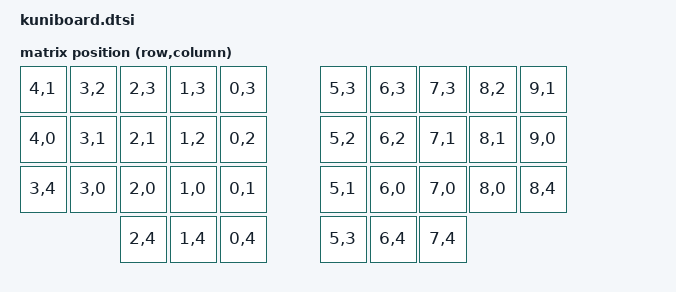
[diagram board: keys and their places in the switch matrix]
/*
 * Copyright (c) 2020 The ZMK Contributors
 *
 * SPDX-License-Identifier: MIT
 */

#include <dt-bindings/zmk/matrix_transform.h>

/ {
  chosen {
    zmk,kscan = &kscan0;
    zmk,matrix_transform = &default_transform;

    /delete-property/ zephyr,console;
    /delete-property/ zephyr,shell-uart;
  };

    default_transform: keymap_transform_0 {
        compatible = "zmk,matrix-transform";
        columns = <10>;
        rows = <5>;

        map = <
RC(4,1) RC(3,2) RC(2,3) RC(1,3) RC(0,3)      RC(5,3) RC(6,3) RC(7,3) RC(8,2) RC(9,1)
RC(4,0) RC(3,1) RC(2,1) RC(1,2) RC(0,2)      RC(5,2) RC(6,2) RC(7,1) RC(8,1) RC(9,0)
RC(3,4) RC(3,0) RC(2,0) RC(1,0) RC(0,1)      RC(5,1) RC(6,0) RC(7,0) RC(8,0) RC(8,4)
                RC(2,4) RC(1,4) RC(0,4)      RC(5,3) RC(6,4) RC(7,4)
        >;
    };

    kscan0: kscan_0 {
        compatible = "zmk,kscan-gpio-charlieplex";

        interrupt-gpios = <&xiao_d 6 (GPIO_ACTIVE_HIGH | GPIO_PULL_DOWN)>;
    };
};

&xiao_i2c { status = "disabled"; };
&xiao_serial { status = "disabled"; };

/*
 * PS/2 Mouse / Trackpoint
 */

// Configure the SCL and SDA pins of the PS/2 mouse/tp using the `&pro_micro`
// notation.
//
// If possible, try to choose the blue high frequency pins to avoid
// bluetooth interference.
//
// On the nice!nano documentation these are green DX pins:
// https://nicekeyboards.com/docs/nice-nano/pinout-schematic
//
#define MOUSE_PS2_PIN_SCL_PRO_MICRO <&xiao_d 9 GPIO_ACTIVE_HIGH>
#define MOUSE_PS2_PIN_SDA_PRO_MICRO <&xiao_d 10 GPIO_ACTIVE_HIGH>


// Uncomment and configure this pin if you have an extra free pin and want the
// controller to perform the Power-On-Reset sequence, which many trackpoints
// require, instead of using a trackpoint reset circuit.
//
// It's ok to use a low-frequency pin for this.
#define MOUSE_PS2_PIN_RST_PRO_MICRO <&xiao_d 8 GPIO_ACTIVE_HIGH>


// Now configure the same SDA pin using the pinctrl notation.
//
// For that you have to use the PX.XX notation of the nrf52 chip.
//
// On the nice!nano pinout they are shown in blue and purple next to the green
// DX pin.
//
// Enter it like `X, Y` without leading zeroes.
// Examples:
// 		D0 - P0.08: 0, 8
//		D15 - P1.13: 1, 13
//
// We don't define the SCL pin, because UART uses a baud rate instead of
// a clock pin.
#define MOUSE_PS2_PIN_SDA_PINCTRL <NRF_PSEL(UART_RX, 0, 8)>


// In UART two different pins are used for receiving and transmitting, but PS/2
// uses the same pin for both.
//
// The UART config still requires both pins to be configured. So we use one of
// the nrf52 pins that are not exposed on the nice!nano board.
#define MOUSE_PS2_PIN_UNEXPOSED_TX <NRF_PSEL(UART_TX, 0, 27)>
#define MOUSE_PS2_PIN_UNEXPOSED_RX <NRF_PSEL(UART_RX, 0, 28)>


// The PS/2 GPIO driver
/ {
    gpio_ps2: gpio_ps2 {
		status = "disabled";
        compatible = "gpio-ps2";
        scl-gpios = MOUSE_PS2_PIN_SCL_PRO_MICRO;
        sda-gpios = MOUSE_PS2_PIN_SDA_PRO_MICRO;
    };
};


&pinctrl {
	// This pinctrl state is used for receiving
	// For `UART_TX`, set an unused and unexposed pin
	// For `UART_RX`, set the PS/2 SDA pin number
	uart0_ps2_default: uart0_ps2_default {
		group1 {
			psels = MOUSE_PS2_PIN_UNEXPOSED_TX,
					MOUSE_PS2_PIN_SDA_PINCTRL;
		};
	};

	// Set this to the same pins as uart0_ps2_default
	uart0_ps2_sleep: uart0_ps2_sleep {
		group1 {
			psels = MOUSE_PS2_PIN_UNEXPOSED_TX,
					MOUSE_PS2_PIN_SDA_PINCTRL;
			low-power-enable;
		};
	};

	// The nrf52 UART controller is not compatible with the PS/2
	// transmission frame. So we don't use UART for transmissions
	// and instead use GPIO bitbanging.
	//
	// When we switch to transmit mode, we free up the SDA pin by switching
	// UART to unexposed/unused pins.
	//
	// Then we can configure the pins to be used with the GPIO controller.
	uart0_ps2_off: uart0_ps2_off {
		group1 {
			psels = MOUSE_PS2_PIN_UNEXPOSED_TX,
					MOUSE_PS2_PIN_UNEXPOSED_RX;
		};
	};
};


&uart0 {
	status = "disabled";
	compatible = "nordic,nrf-uarte";

	// PS/2 uses a clock pin to syncronize data transmissions. UART on the
	// other hand uses a pre-defined frequency (baud rate).
	//
	// Fortunately, one of the available baud rates is very close to the
	// frequency used in IBM/Lenovo trackpoints.
	//
	// You can find other configurable baud rates here:
	// https://docs.zephyrproject.org/latest/build/dts/api/bindings/serial/nordic,nrf-uarte.html
	//
	// But most likely you won't need to adjust this.
	//
	// You can measure the frequency of your mouse/TP using a $5 logic
	// analyzer from AliExpress.
	//
	// Actual frequency of PS/2 trackpoint: 67us
	// Correspondent baud rate: 14,925
	//
	// Closest available baud rate in zephyr: 14,400
	// Correspondent cycle length: 69.44 microseconds
	//
	// Calculations:
	//
	// Convert cycle length in microseconds into baud:
	// 1 / PS2_CYCLE_LENGTH * 1000000 =  BAUD
	// 1 / 67 * 1000000 = 14,925 BAUD
	//
	// Convert baud into cycle length:
	// 1 / BAUD * 1000000 = CYCLE_LEN (in microseconds)
	// 1 / 14400 * 1000000 = 69.44
	//
	current-speed = <14400>;
	pinctrl-0 = <&uart0_ps2_default>;
	pinctrl-1 = <&uart0_ps2_off>;

	pinctrl-names = "default", "sleep";

    uart_ps2: uart_ps2 {
        status="disabled";
        compatible = "uart-ps2";
        scl-gpios = MOUSE_PS2_PIN_SCL_PRO_MICRO;
        sda-gpios = MOUSE_PS2_PIN_SDA_PRO_MICRO;
    };
};


/ {
    mouse_ps2: mouse_ps2 {
		status = "disabled";
        compatible = "zmk,input-mouse-ps2";

		// This will be overriden in your `xxx_right.overlay file`.
        // ps2-device = <&gpio_ps2>;
        ps2-device = <&uart_ps2>;

#ifdef MOUSE_PS2_PIN_RST_PRO_MICRO
        rst-gpios = MOUSE_PS2_PIN_RST_PRO_MICRO;
#endif
    };

    input_config: input_config {
      compatible = "zmk,input-configs";
      status = "disabled";

      mouse_ps2_config: mouse_ps2_config {
        device = <&mouse_ps2>;

		// Some of the available settings depend on the keymap. So they
		// are adjusted in...
		// ../../../includes/trackpoint.dtsi
      };
    };
};
